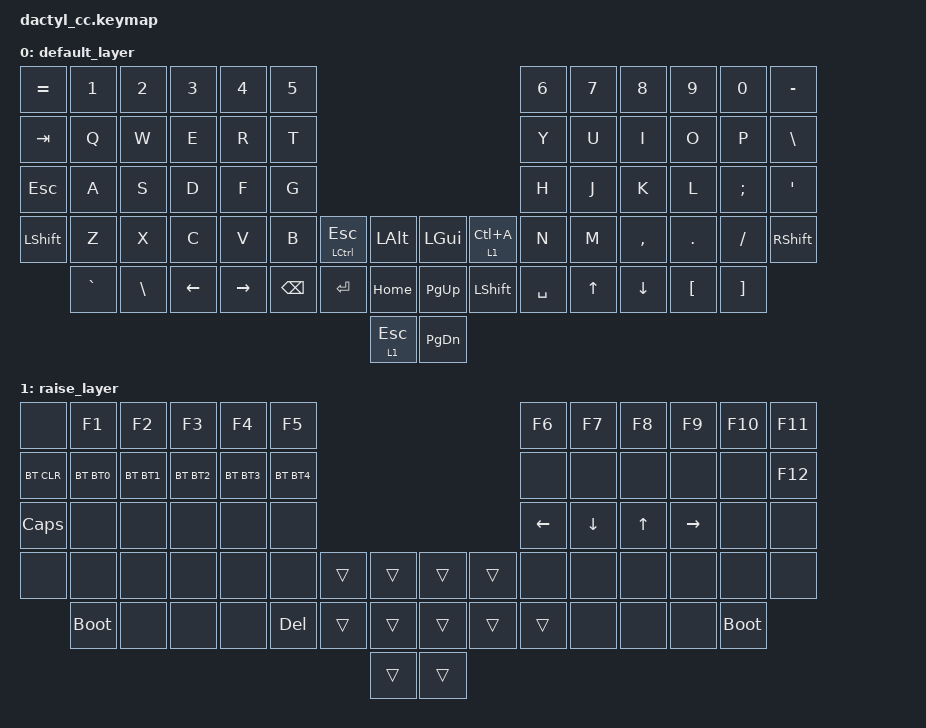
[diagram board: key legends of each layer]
/*
 * Copyright (c) 2020 The ZMK Contributors
 *
 * SPDX-License-Identifier: MIT
 */

#include <behaviors.dtsi>
#include <dt-bindings/zmk/keys.h>
#include <dt-bindings/zmk/bt.h>

#define BT0 BT_SEL 0
#define BT1 BT_SEL 1
#define BT2 BT_SEL 2
#define BT3 BT_SEL 3
#define BT4 BT_SEL 4

#define LDR LC(A)

/ {
    keymap {
        compatible = "zmk,keymap";

        default_layer {
// +-------+-----+-----+-----+-----+-----+                                       +-----+-----+-----+-----+-----+-------+
// |  =    |  1  |  2  |  3  |  4  |  5  |                                       |  6  |  7  |  8  |  9  |  0  |   -   |
// +-------+-----+-----+-----+-----+-----+                                       +-----+-----+-----+-----+-----+-------+
// |  TAB  |  Q  |  W  |  E  |  R  |  T  |                                       |  Y  |  U  |  I  |  O  |  P  |   \   |
// +-------+-----+-----+-----+-----+-----+                                       +-----+-----+-----+-----+-----+-------+
// |  ESC  |  A  |  S  |  D  |  F  |  G  |                                       |  H  |  J  |  K  |  L  |  ;  |   '   |
// +-------+-----+-----+-----+-----+-----+  +------+------+     +------+------+  +-----+-----+-----+-----+-----+-------+
// | SHIFT |  Z  |  X  |  C  |  V  |  B  |  | CTRL | ALT  |     | GUI  |  LDR |  |  N  |  M  |  ,  |  .  |  /  | SHIFT |
// +-------+-----+-----+-----+-----+-+---+--+------+------+     +------+------+--+---+-+-----+-----+-----+-----+-------+
//         |  `  |  \  | LFT | RGT | |      |      | HOME |     | PGUP |      |      | | UP  | DWN |  [  |  ]  |
//         +-----+-----+-----+-----+ | BKSP | ENTER|------+     +------| SHFT | SPC  | +-----+-----+-----+-----+
//                                   |      |      | ESC  |     | PGDN |      |      |
//                                   +------+------+------+     +------+------+------+
            bindings = <
&kp EQUAL &kp N1    &kp N2   &kp N3   &kp N4    &kp N5                                                  &kp N6  &kp N7 &kp N8    &kp N9   &kp N0   &kp MINUS
&kp TAB   &kp Q     &kp W    &kp E    &kp R     &kp T                                                   &kp Y   &kp U  &kp I     &kp O    &kp P    &kp BSLH
&kp ESC   &kp A     &kp S    &kp D    &kp F     &kp G                                                   &kp H   &kp J  &kp K     &kp L    &kp SEMI &kp SQT
&kp LSHFT &kp Z     &kp X    &kp C    &kp V     &kp B    &mt LCTRL ESC &kp LALT    &kp LGUI  &lt 1 LDR  &kp N   &kp M  &kp COMMA &kp DOT  &kp FSLH &kp RSHFT
          &kp GRAVE &kp BSLH &kp LEFT &kp RIGHT &kp BSPC &kp RET       &kp HOME    &kp PG_UP &kp LSHIFT &kp SPC &kp UP &kp DOWN  &kp LBKT &kp RBKT
                                                                       &lt 1 ESC   &kp PG_DN
            >;
        };

        raise_layer {
// +-------+-----+-----+-----+-----+-----+                                       +-----+-----+-----+-----+-----+-------+
// |       |  F1 |  F2 |  F3 |  F4 |  F5 |                                       |  F6 |  F7 |  F8 |  F9 | F10 |  F11  |
// +-------+-----+-----+-----+-----+-----+                                       +-----+-----+-----+-----+-----+-------+
// | BTCLR | BT1 | BT2 | BT3 | BT4 | BT5 |                                       |     |     |     |     |     |  F12  |
// +-------+-----+-----+-----+-----+-----+                                       +-----+-----+-----+-----+-----+-------+
// | CAPS  |     |     |     |     |     |                                       | LFT | DWN |  UP | RGT |     |       |
// +-------+-----+-----+-----+-----+-----+  +------+------+     +------+------+  +-----+-----+-----+-----+-----+-------+
// |       |     |     |     |     |     |  | CTRL | ALT  |     | GUI  | XXXX |  |     |     |     |     |     |       |
// +-------+-----+-----+-----+-----+-+---+--+------+------+     +------+------+--+---+-+-----+-----+-----+-----+-------+
//         | RST |     |     |     | |      |      | HOME |     | PGUP |      |      | |     |     |     | RST |
//         +-----+-----+-----+-----+ | DEL  | ENTER|------+     +------| SHFT | SPC  | +-----+-----+-----+-----+
//                                   |      |      | ESC  |     | PGDN |      |      |
//                                   +------+------+------+     +------+------+------+
            bindings = <
&none      &kp F1      &kp F2  &kp F3  &kp F4  &kp F5                                  &kp F6   &kp F7   &kp F8 &kp F9    &kp F10     &kp F11
&bt BT_CLR &bt BT0     &bt BT1 &bt BT2 &bt BT3 &bt BT4                                 &none    &none    &none  &none     &none       &kp F12
&kp CLCK   &none       &none   &none   &none   &none                                   &kp LEFT &kp DOWN &kp UP &kp RIGHT &none       &none
&none      &none       &none   &none   &none   &none   &trans &trans     &trans &trans &none    &none    &none  &none     &none       &none
           &bootloader &none   &none   &none   &kp DEL &trans &trans     &trans &trans &trans   &none    &none  &none     &bootloader
                                                              &trans     &trans
                                                          >;
        };
    };
};

/ {
    combos {
        compatible = "zmk,combos";
        combo_lbrace {
            timeout-ms = <50>;
            key-positions = <15 27>;
            bindings = <&kp LS(LBKT)>;
        };

        combo_lbracket {
            timeout-ms = <50>;
            key-positions = <16 28>;
            bindings = <&kp LBKT>;
        };

        combo_rbrace {
            timeout-ms = <50>;
            key-positions = <20 32>;
            bindings = <&kp LS(RBKT)>;
        };

        combo_rbracket {
            timeout-ms = <50>;
            key-positions = <19 31>;
            bindings = <&kp RBKT>;
        };
    };
};
